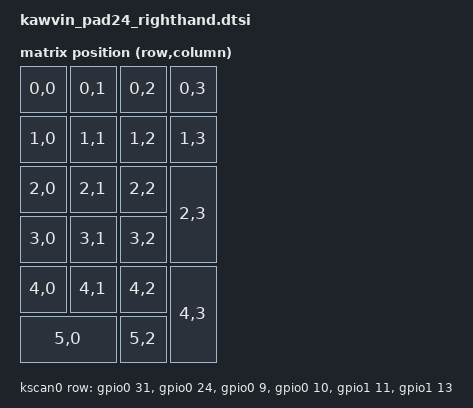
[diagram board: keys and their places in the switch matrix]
/*
 * Copyright (c) 2023 The ZMK Contributors
 *
 * SPDX-License-Identifier: MIT
 */

#include <dt-bindings/zmk/matrix_transform.h>
#include <dt-bindings/led/led.h>
#include <physical_layouts.dtsi>

/ {
    physical_layout0: physical_layout_0 {
        compatible = "zmk,physical-layout";
        display-name = "NoirPad21";

        kscan = <&kscan0>;
        transform = <&matrix_transform0>;

        keys  //                     w   h    x    y     rot    rx    ry
            = <&key_physical_attrs 100 100    0    0       0     0     0>
            , <&key_physical_attrs 100 100  100    0       0     0     0>
            , <&key_physical_attrs 100 100  200    0       0     0     0>
            , <&key_physical_attrs 100 100  300    0       0     0     0>
            , <&key_physical_attrs 100 100    0  100       0     0     0>
            , <&key_physical_attrs 100 100  100  100       0     0     0>
            , <&key_physical_attrs 100 100  200  100       0     0     0>
            , <&key_physical_attrs 100 100  300  100       0     0     0>
            , <&key_physical_attrs 100 100    0  200       0     0     0>
            , <&key_physical_attrs 100 100  100  200       0     0     0>
            , <&key_physical_attrs 100 100  200  200       0     0     0>
            , <&key_physical_attrs 100 200  300  200       0     0     0>
            , <&key_physical_attrs 100 100    0  300       0     0     0>
            , <&key_physical_attrs 100 100  100  300       0     0     0>
            , <&key_physical_attrs 100 100  200  300       0     0     0>
            , <&key_physical_attrs 100 100    0  400       0     0     0>
            , <&key_physical_attrs 100 100  100  400       0     0     0>
            , <&key_physical_attrs 100 100  200  400       0     0     0>
            , <&key_physical_attrs 100 200  300  400       0     0     0>
            , <&key_physical_attrs 200 100    0  500       0     0     0>
            , <&key_physical_attrs 100 100  200  500       0     0     0>
            ;
    };
};

&pinctrl {
// Other pinctrl definitions for other hardware

    spi3_default: spi3_default {
        group1 {
            psels = <NRF_PSEL(SPIM_MOSI, 0, 6)>;
        };
    };

    spi3_sleep: spi3_sleep {
        group1 {
            psels = <NRF_PSEL(SPIM_MOSI, 0, 6)>;
            low-power-enable;
        };
    };
};

&spi3 {
    compatible = "nordic,nrf-spim";
    status = "okay";

    pinctrl-0 = <&spi3_default>;
    pinctrl-1 = <&spi3_sleep>;
    pinctrl-names = "default", "sleep";

    led_strip: ws2812@0 {
        compatible = "worldsemi,ws2812-spi";

        /* SPI */
        reg = <0>; /* ignored, but necessary for SPI bindings */
        spi-max-frequency = <4000000>;

        /* WS2812 */
        chain-length = <21>; /* arbitrary; change at will */
        spi-one-frame = <0x70>;
        spi-zero-frame = <0x40>;

        color-mapping = <
            LED_COLOR_ID_GREEN
            LED_COLOR_ID_RED
            LED_COLOR_ID_BLUE
        >;
    };
};

/ {

    chosen {
        zmk,physical-layouts = &physical_layout0;
        zmk,kscan = &kscan0;
        zmk,underglow = &led_strip;
    };

    default_transform: keymap_transform_0 {
        compatible = "zmk,matrix-transform";
        columns = <4>;
        rows = <6>;
//	|ESC     |TAB |BSPC|=    |
//	|Num_Lock|/   |*   |-    |
//	|7       |8   |9   |+    |
//	|4       |5   |6   |     |
//	|1       |2   |3   |ENTER|
//	|0       |    |.   |     |



        map = <
RC(0,0) RC(0,1) RC(0,2) RC(0,3) 
RC(1,0) RC(1,1) RC(1,2) RC(1,3) 
RC(2,0) RC(2,1) RC(2,2) RC(2,3) 
RC(3,0) RC(3,1) RC(3,2)         
RC(4,0) RC(4,1) RC(4,2) RC(4,3) 
RC(5,0)         RC(5,2)         


        >;
    };

    kscan0: kscan_0 {
        compatible = "zmk,kscan-gpio-matrix";
        wakeup-source;
        diode-direction = "col2row";

        row-gpios
            = <&gpio0 31 (GPIO_ACTIVE_HIGH | GPIO_PULL_DOWN)>
            , <&gpio0 24 (GPIO_ACTIVE_HIGH | GPIO_PULL_DOWN)>
            , <&gpio0  9 (GPIO_ACTIVE_HIGH | GPIO_PULL_DOWN)>
            , <&gpio0 10 (GPIO_ACTIVE_HIGH | GPIO_PULL_DOWN)>
            , <&gpio1 11 (GPIO_ACTIVE_HIGH | GPIO_PULL_DOWN)>
            , <&gpio1 13 (GPIO_ACTIVE_HIGH | GPIO_PULL_DOWN)>
            ;
    };

};

&physical_layout0{

	transform = <&default_transform>;

	kscan = <&kscan0>;

};



zephyr_udc0: &usbd { 

    compatible = "nordic,nrf-usbd"; 

    status = "okay"; 

};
